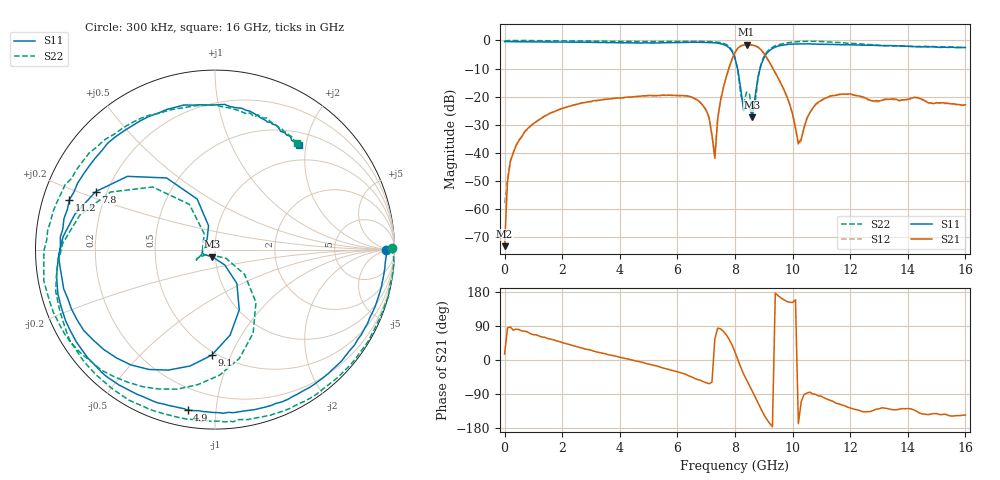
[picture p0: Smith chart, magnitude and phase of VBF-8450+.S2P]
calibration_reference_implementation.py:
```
#!/usr/bin/env python3

"""
Implementation and tests of the "Cal-Acquisition for 12-Term Models" described in 3.3 (page 139) of _Handbook of Microwave Component Measurements_ (2020) by Joel Dunsmore.

Also based on https://coppermountaintech.com/webinar-vna-master-class-full-1-port-vna-calibration-math-with-python-code/
Also see Keysight Application Note "Specifying Calibration Standards and Kits for Keysight Vector Network Analyzers"

Terms:
    DUT - device under test
"""

import math
import skrf as rf
import numpy as np
import matplotlib.pyplot as plt

def generate_short_standard(offset_delay, offset_loss, l0, l1, l2, l3, frequencies):
    """
    Generate S-parameters for a short standard using the standard polynomial approximation given in equation 3.27 of the book. A short standard is modeled as a short lossy transmission line before a small frequency-dependent inductor.

    Also see https://www.minicircuits.com/pdfs/SOL-63-NM+.pdf for the units.

    offset_delay - Delay of the transmission line in ps.
    offset_loss - Loss of the transmission line in GOhm/s
    l0 - First coefficient for inductance in (1e-12 H)
    l1 - Second coefficient for inductance in (1e-24 H)
    l2 - Third coefficient for inductance in (1e-33 H)
    l3 - Fourth coefficient for inductance in  (1e-42 H)
    """
    #loss = (offset_loss * 1e9) * (offset_delay * 1e-12)

    s11_values = []
    for frequency in frequencies.f:
        omega = 2 * math.pi * frequency
        L = (l0 * 1e-12) + (l1 * 1e-24 * frequency) + (l2 * 1e-33 * (frequency ** 2)) + (l3 * 1e-42 * (frequency ** 3))
        inductor_impedance = 1j * omega * L
        reflection_coefficient = (inductor_impedance - 50) / (inductor_impedance + 50)

        delay_phase_shift = omega * (offset_delay * 1e-12)
        reflection_coefficient *= math.e ** (-1j * delay_phase_shift)

        s11_values.append(reflection_coefficient)

    inductor_network = rf.Network(f = frequencies.f, s = s11_values, z0 = 50)
    return inductor_network

def generate_open_standard(offset_delay, offset_loss, c0, c1, c2, c3, frequencies):
    """
    Generate S-parameters for an open standard using the standard polynomial approximation given in equation 3.27 of the book. A open standard is modeled as a short lossy transmission line before a small frequency-dependent capacitor.

    Also see https://www.minicircuits.com/pdfs/SOL-63-NM+.pdf for the units.

    offset_delay - Delay of the transmission line in ps.
    offset_loss - Loss of the transmission line in GOhm/s
    c0 - First coefficient for inductance in (1e-15 H)
    c1 - Second coefficient for inductance in (1e-27 H)
    c2 - Third coefficient for inductance in (1e-36 H)
    c3 - Fourth coefficient for inductance in  (1e-45 H)
    """
    #loss = (offset_loss * 1e9) * (offset_delay * 1e-12)

    s11_values = []
    for frequency in frequencies.f:
        omega = 2 * math.pi * frequency
        C = (c0 * 1e-15) + (c1 * 1e-27 * frequency) + (c2 * 1e-36 * (frequency ** 2)) + (c3 * 1e-45 * (frequency ** 3))
        capacitor_impedance = 1/(1j * omega * C)
        reflection_coefficient = (capacitor_impedance - 50) / (capacitor_impedance + 50)

        delay_phase_shift = omega * (offset_delay * 1e-12)
        reflection_coefficient *= math.e ** (-1j * delay_phase_shift)

        s11_values.append(reflection_coefficient)

    capacitor_network = rf.Network(f = frequencies.f, s = s11_values, z0 = 50)
    return capacitor_network

def generate_load_standard(offset_delay, offset_loss, offset_impedance, frequencies):
    """
    Generate S-parameters for an open standard using the transmission line + resistor model of a load standard.

    offset_delay - Delay of the transmission line in ps.
    offset_loss - Loss of the transmission line in GOhm/s
    offset_impedance - Impedance of the load standard (normally 50 Ohms).
    """

    s11_values = []
    for frequency in frequencies.f:
        if offset_impedance == 50:
            s11_values.append(0)
        else:
            omega = 2 * math.pi * frequency
            reflection_coefficient = (offset_impedance - 50) / (offset_impedance + 50)

            delay_phase_shift = omega * (offset_delay * 1e-12)
            reflection_coefficient *= math.e ** (-1j * delay_phase_shift)

            s11_values.append(reflection_coefficient)

    load_network = rf.Network(f = frequencies.f, s = s11_values, z0 = 50)
    return load_network

dut = rf.Network("VBF-8450+.S2P") # Example DUT, an 8.4 GHz bandpass filter from Mini-Circuits
port1_test_fixture = rf.Network("EQY-0-24+_B1_25C.s2p") # Example test fixture from port 1 of VNA to DUT, equalizer from Mini-Circuits.
port2_test_fixture = rf.Network("QAT-20+_Plus25DegC_B1.s2p") # Example test fixture (cable and other devices) from port 2 of VNA to DUT, 20 dB attenuator from Mini-Circuits.
frequencies = rf.frequency.Frequency(10e6, 15e9, 5000, "Hz")
dut.interpolate_self(frequencies)
port1_test_fixture.interpolate_self(frequencies)
port2_test_fixture.interpolate_self(frequencies)

# Example cal standard parameters from https://www.minicircuits.com/pdfs/SOL-63-NM+.pdf
short_standard_model = generate_short_standard(59.44, 1, 0, 0, 0, 0, frequencies)
open_standard_model = generate_open_standard(59.55, 1, -4, 200, 0, 1.1, frequencies)
load_standard_model = generate_load_standard(0, 0, 50, frequencies)
media = rf.media.DefinedGammaZ0(frequency = f, z0_port = 50)
unknown_through_standard_model = media.attenuator(1, d = 10, units = "ps") # 1 dB attenuator as our unknown-thru standard.

#===================Measure Cal Standards In-System===============================
short_standard_measured_port1 = port1_test_fixture ** short_standard_model
open_standard_measured_port1 = port1_test_fixture ** open_standard_model
load_standard_measured_port1 = port1_test_fixture ** load_standard_model
short_standard_measured_port2 = port2_test_fixture ** short_standard_model
open_standard_measured_port2 = port2_test_fixture ** open_standard_model
load_standard_measured_port2 = port2_test_fixture ** load_standard_model
unknown_thru_standard_measured_port1 = port1_test_fixture ** unknown_through_standard_model ** port2_test_fixture

#===================Take Raw Measurements (Test Fixtures + DUT)===================
full_system = port1_test_fixture ** dut ** port2_test_fixture

#===================One-Port Calibration==========================================
ERF_values = []
EDF_values = []
ESF_values = []
ERR_values = []
EDR_values = []
ESR_values = []
for i in range(len(frequencies.f)):
    # Port 1 cal
    A = np.array([[1, open_standard_model.s[i][0, 0], open_standard_model.s[i][0, 0] * open_standard_measured_port1.s[i][0, 0]],
                  [1, short_standard_model.s[i][0, 0], short_standard_model.s[i][0, 0] * short_standard_measured_port1.s[i][0, 0]],
                  [1, load_standard_model.s[i][0, 0], load_standard_model.s[i][0, 0] * load_standard_measured_port1.s[i][0, 0]]], dtype = np.complex128)
    B = np.array([[open_standard_measured_port1.s[i][0, 0]],
                  [short_standard_measured_port1.s[i][0, 0]],
                  [load_standard_measured_port1.s[i][0, 0]]], dtype = np.complex128)
    solution = np.linalg.solve(A, B)
    EDF = solution[0, 0]
    ESF = solution[2, 0]
    ERF = solution[1, 0] + EDF * ESF
    ERF_values.append(ERF)
    EDF_values.append(EDF)
    ESF_values.append(ESF)
    # Port 2 cal
    A = np.array([[1, open_standard_model.s[i][0, 0], open_standard_model.s[i][0, 0] * open_standard_measured_port2.s[i][0, 0]],
                  [1, short_standard_model.s[i][0, 0], short_standard_model.s[i][0, 0] * short_standard_measured_port2.s[i][0, 0]],
                  [1, load_standard_model.s[i][0, 0], load_standard_model.s[i][0, 0] * load_standard_measured_port2.s[i][0, 0]]], dtype = np.complex128)
    B = np.array([[open_standard_measured_port2.s[i][0, 0]],
                  [short_standard_measured_port2.s[i][0, 0]],
                  [load_standard_measured_port2.s[i][0, 0]]], dtype = np.complex128)
    solution = np.linalg.solve(A, B)
    EDR = solution[0, 0]
    ESR = solution[2, 0]
    ERR = solution[1, 0] + EDR * ESR
    ERR_values.append(ERR)
    EDR_values.append(EDR)
    ESR_values.append(ESR)

#if __name__ == "__main__":
    #short_standard.plot_s_smith(m=0,n=0,draw_labels=True,color="red")
    #open_standard.plot_s_smith(m=0,n=0,draw_labels=True,color="red")
    #plt.show()
```
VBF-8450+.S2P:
! Mini-Circuits
! S2P DATA File Format
! Type: BAND Pass Filter
! Model: VBF-8450+
! Note: All S Parameters are in dB deg format
! TEST CONDITIONS: INPUT POWER = 0dBm @Temperature = +25degC
! 401 Frequency points
# Hz S  dB  R 50
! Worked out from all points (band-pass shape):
!   161 points, 300 kHz to 16 GHz, reference 50 ohm
!   highest |S21| = -1.52 dB at 8.4 GHz (marker M1); lowest = -73.4 dB at 300 kHz (marker M2)
!   |S21| within 3 dB of the highest: 7.988 GHz to 8.997 GHz (1.008 GHz wide, 11.9 % of centre)
!   lowest |S11| = -27.4 dB at 8.6 GHz (marker M3), VSWR 1.09, Z = 48.3 - j3.85 ohm
!   |S11| at or under -10 dB: 8.088 GHz to 8.872 GHz (783.7 MHz wide, 9.24 % of centre)
!   |S22| runs from -25.9 to 0.0 dB; largest |S21 - S12| = 0.0084
!   S11 on the Smith chart (normalised r, x): 300 kHz: 41, +0; 4.9 GHz: 0.08, -0.84; 7.8 GHz: 0.16, +0.22; 9.1 GHz: 0.47, -0.85; 11.2 GHz: 0.08, +0.17; 16 GHz: 0.70, +1.88
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300000  -0.42 0.0  -73.39 15.9  -57.98 -40.7  -0.15 0.4
7.002895e8  -0.46 -14.9  -32.50 76.0  -32.60 73.9  0.01 -15.3
4.900226e9  -0.85 -99.7  -19.73 -9.1  -19.70 -8.7  -0.39 -92.8
7.30019e9  -0.82 -164.2  -42.05 55.6  -40.94 50.1  -0.54 -153.4
7.800183e9  -2.63 154.1  -9.52 54.0  -9.53 54.2  -2.18 165.8
8.00018e9  -6.34 124.0  -4.25 20.8  -4.27 20.6  -6.16 134.8
8.400174e9  -22.54 -167.7  -1.52 -52.5  -1.59 -52.8  -18.43 -150.6
8.600171e9  -27.38 -111.5  -1.62 -82.2  -1.63 -82.0  -25.94 -150.0
9.100164e9  -4.61 -91.8  -6.15 -156.2  -6.04 -155.8  -4.13 -77.4
1.120013e10  -1.34 161.0  -20.38 -103.3  -20.32 -102.9  -0.54 176.8
1.600006e10  -2.49 51.2  -22.93 -145.3  -22.96 -145.2  -2.51 52.3
